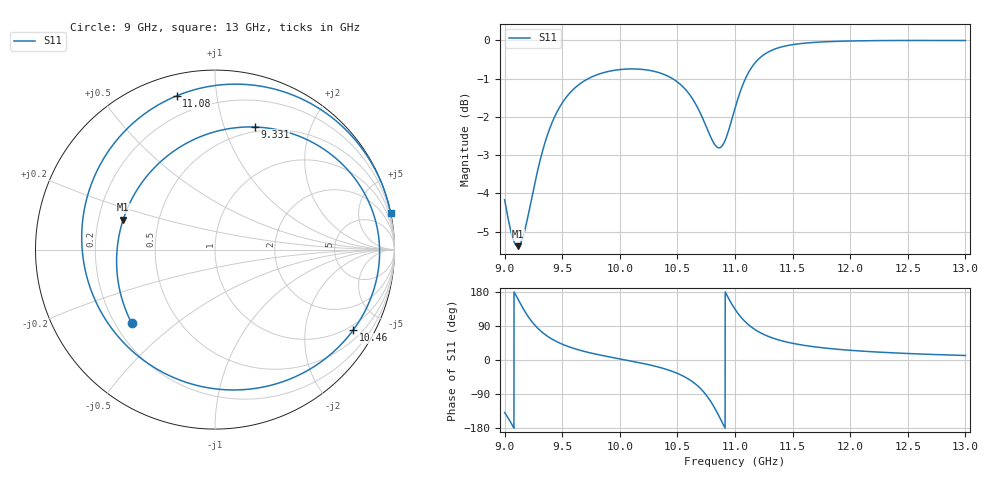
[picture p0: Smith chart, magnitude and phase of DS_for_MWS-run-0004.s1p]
! TOUCHSTONE file generated by CST DESIGN STUDIO
! Date and time: Wed Feb  5 13:36:10 2025
! Project name: C:\Work\MatlabApps\UnitCellOptimizationMatlab\CST\unitcell.cst
! Tree item: Tasks\Sweep1\SPara1\S-Parameters
! Header version: 2024
! Port assignment regex: !\s*Touchstone port\s*([0-9]+)\s*=\s*(CST MWS port|CST DES external port|CST DES block port)\s*(.+)\s* \(\"(.*)\"\)(\s*mode\s*([0-9]+))?.*
! Touchstone port assignment:
! Touchstone port 1 = CST DES external port 1 ("")
# GHz S MA R 50
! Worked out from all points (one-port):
!   4001 points, 9 GHz to 13 GHz, reference 50 ohm
!   lowest |S11| = -5.4 dB at 9.113 GHz (marker M1), VSWR 3.33, Z = 15.3 + j7.18 ohm
!   |S11| at or under -10 dB: nowhere
!   S11 on the Smith chart (normalised r, x): 9 GHz: 0.27, -0.35; 9.331 GHz: 0.45, +1.27; 10.46 GHz: 0.81, -3.52; 11.08 GHz: 0.10, +0.78; 13 GHz: 0.03, +9.59
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9  0.6191 -138.7
9.061  0.5578 -168.8
9.113  0.5383 162.0
9.168  0.5593 132.0
9.219  0.605 108.4
9.331  0.7182 72.0
9.5  0.8282 41.8
9.708  0.888 21.4
10  0.9157 2.9
10.265  0.9131 -13.3
10.458  0.891 -30.3
10.5  0.8822 -35.3
10.58  0.8591 -47.3
10.65  0.8298 -61.6
10.724  0.788 -82.9
10.781  0.7523 -105.6
10.837  0.7268 -134.1
10.899  0.7319 -170.8
10.946  0.7637 161.6
11  0.815 134.1
11.079  0.8831 104.0
11.153  0.9257 84.6
11.259  0.9595 66.2
11.367  0.9766 54.0
11.5  0.987 44.1
12  0.9979 25.6
12.5  0.9995 17.1
13  0.9994 11.9
